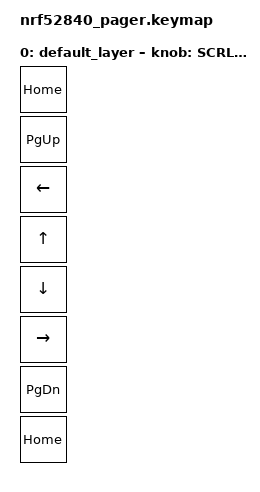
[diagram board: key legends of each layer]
#include <behaviors.dtsi>
#include <dt-bindings/zmk/keys.h>
#include <dt-bindings/zmk/mouse.h>

/ {
    keymap {
        compatible = "zmk,keymap";

        default_layer {
            bindings = <
                &kp HOME     // 0
                &kp PG_UP    // 1
                &kp LEFT     // 2
                &kp UP       // 3
                &kp DOWN     // 4
                &kp RIGHT    // 5
                &kp PG_DN    // 6
                &kp HOME     // 7 ENC_SW
            >;
			sensor-bindings = <
                &inc_dec_kp SCRL_UP SCRL_DOWN
            >;
        };
    };
};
